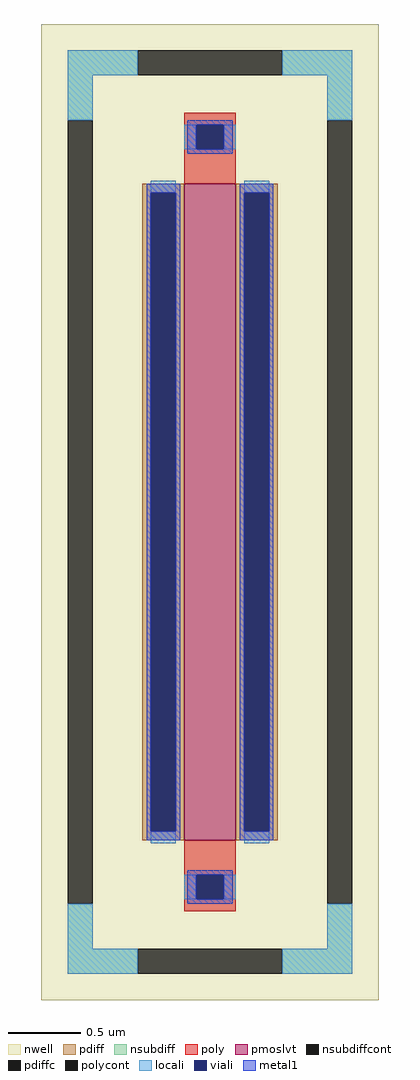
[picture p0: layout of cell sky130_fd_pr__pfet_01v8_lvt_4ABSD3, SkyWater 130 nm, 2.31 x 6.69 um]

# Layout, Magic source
magic
tech sky130A
magscale 1 2
<< nwell >>
rect -231 -669 231 669
<< pmoslvt >>
rect -35 -450 35 450
<< pdiff >>
rect -93 438 -35 450
rect -93 -438 -81 438
rect -47 -438 -35 438
rect -93 -450 -35 -438
rect 35 438 93 450
rect 35 -438 47 438
rect 81 -438 93 438
rect 35 -450 93 -438
<< pdiffc >>
rect -81 -438 -47 438
rect 47 -438 81 438
<< nsubdiff >>
rect -195 599 -99 633
rect 99 599 195 633
rect -195 537 -161 599
rect 161 537 195 599
rect -195 -599 -161 -537
rect 161 -599 195 -537
rect -195 -633 -99 -599
rect 99 -633 195 -599
<< nsubdiffcont >>
rect -99 599 99 633
rect -195 -537 -161 537
rect 161 -537 195 537
rect -99 -633 99 -599
<< poly >>
rect -35 531 35 547
rect -35 497 -19 531
rect 19 497 35 531
rect -35 450 35 497
rect -35 -497 35 -450
rect -35 -531 -19 -497
rect 19 -531 35 -497
rect -35 -547 35 -531
<< polycont >>
rect -19 497 19 531
rect -19 -531 19 -497
<< locali >>
rect -195 599 -99 633
rect 99 599 195 633
rect -195 537 -161 599
rect 161 537 195 599
rect -35 497 -19 531
rect 19 497 35 531
rect -81 438 -47 454
rect -81 -454 -47 -438
rect 47 438 81 454
rect 47 -454 81 -438
rect -35 -531 -19 -497
rect 19 -531 35 -497
rect -195 -599 -161 -537
rect 161 -599 195 -537
rect -195 -633 -99 -599
rect 99 -633 195 -599
<< viali >>
rect -19 497 19 531
rect -81 -438 -47 438
rect 47 -438 81 438
rect -19 -531 19 -497
<< metal1 >>
rect -31 531 31 537
rect -31 497 -19 531
rect 19 497 31 531
rect -31 491 31 497
rect -87 438 -41 450
rect -87 -438 -81 438
rect -47 -438 -41 438
rect -87 -450 -41 -438
rect 41 438 87 450
rect 41 -438 47 438
rect 81 -438 87 438
rect 41 -450 87 -438
rect -31 -497 31 -491
rect -31 -531 -19 -497
rect 19 -531 31 -497
rect -31 -537 31 -531
<< properties >>
string FIXED_BBOX -178 -616 178 616
string gencell sky130_fd_pr__pfet_01v8_lvt
string library sky130
string parameters w 4.5 l 0.35 m 1 nf 1 diffcov 100 polycov 100 guard 1 glc 1 grc 1 gtc 1 gbc 1 tbcov 100 rlcov 100 topc 1 botc 1 poverlap 0 doverlap 1 lmin 0.35 wmin 0.42 compatible {sky130_fd_pr__pfet_01v8  sky130_fd_pr__pfet_01v8_lvt sky130_fd_pr__pfet_01v8_hvt  sky130_fd_pr__pfet_g5v0d10v5} full_metal 1 viasrc 100 viadrn 100 viagate 100 viagb 0 viagr 0 viagl 0 viagt 0
<< end >>
